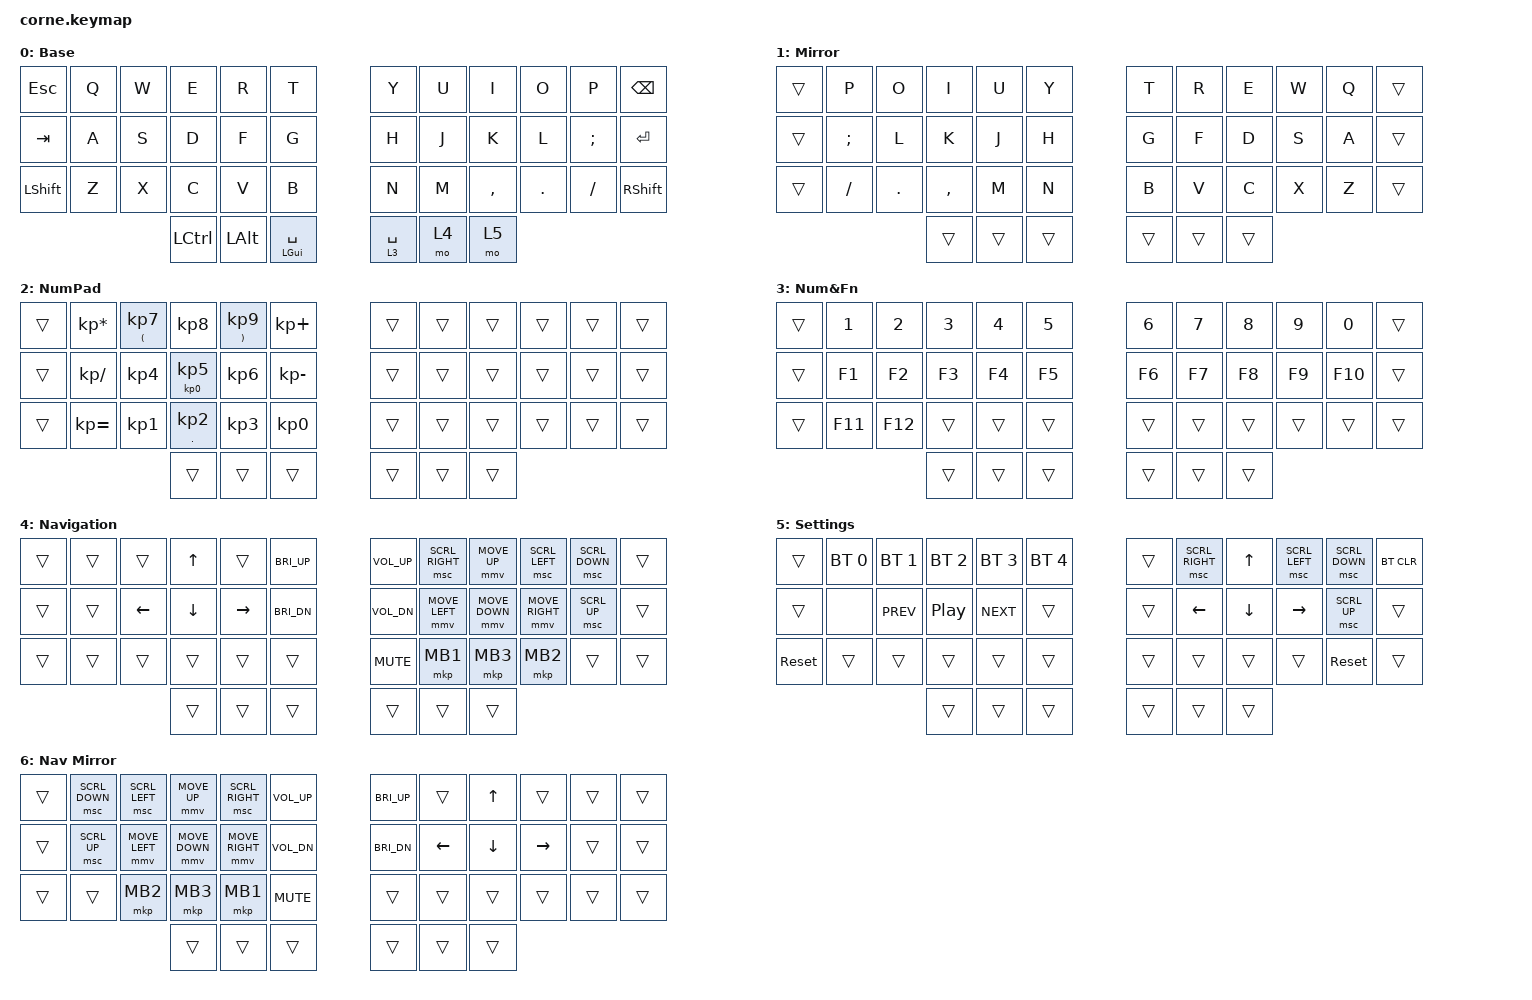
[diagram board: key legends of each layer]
/*
 * Copyright (c) 2020 The ZMK Contributors
 * SPDX-License-Identifier: MIT
 *
 * Corne 6 — key positions (used by the combos below):
 *
 *      Left half:                    Right half:
 *      0   1   2   3   4   5         6   7   8   9  10  11
 *     12  13  14  15  16  17        18  19  20  21  22  23
 *     24  25  26  27  28  29        30  31  32  33  34  35
 *                 36  37  38        39  40  41
 *
 * Layers: 0 Base · 1 NumPad · 2 Num&Fn · 3 Navigation · 4 Settings · 5 Mirror
 *
 * Mouse emulation reference:
 *   https://v0-3-branch.zmk.dev/docs/keymaps/behaviors/mouse-emulation
 */
/* ============================================================
 *  USER CONFIG  (tunable constants)
 * ------------------------------------------------------------
 *  The ZMK_POINTING_* values must be defined BEFORE pointing.h
 *  is included, which is why this block sits above the includes.
 * ============================================================
 */
// Pointing Settings

#define ZMK_POINTING_DEFAULT_MOVE_VAL   975   // pointer speed (ZMK default 600)

// #define ZMK_POINTING_DEFAULT_SCRL_VAL 200 //make scroll speed faster
// Combo Terms

#define COMBO_TERM        25   // max ms between the keys of a combo
#define COMBO_IDLE       200   // ms of idle required before a combo can fire

// Caps Combo Terms

#define SHIFT_HOLD_TERM  240   // ms the caps combo must be held to become caps-lock

// Various Include

#include <dt-bindings/zmk/modifiers.h>
#include <behaviors.dtsi>
#include <dt-bindings/zmk/bt.h>
#include <dt-bindings/zmk/keys.h>
#include <dt-bindings/zmk/pointing.h>
#include "zmk-helpers/helper.h"          // ZMK_TAP_DANCE, ZMK_MOD_MORPH; MUST come last, after behaviors.dtsi

/* ============================================================
 *  CAPS COMBOS
 * ------------------------------------------------------------
 *  The shift keys are plain shifts. Caps lives in two combos
 *  (TAB + LSHIFT, ENTER + RSHIFT):
 *    tap   -> caps-word
 *    hold  -> caps-lock (while held past SHIFT_HOLD_TERM)
 * ============================================================
 */

/ {
    behaviors {
        n_shift_ht: new_shift_hold_tap {
            compatible = "zmk,behavior-hold-tap";
            #binding-cells = <2>;   // ZMK requires 2 for every hold-tap
            flavor = "tap-preferred";
            tapping-term-ms = <SHIFT_HOLD_TERM>;
            bindings = <&kp>, <&caps_word_p>;
        };
    };

    macros {
        /* caps_word with an ignored parameter, so it fits a 2-cell hold-tap. */

        caps_word_p: caps_word_p {
            compatible = "zmk,behavior-macro-one-param";
            #binding-cells = <1>;
            wait-ms = <0>;
            tap-ms = <0>;
            bindings = <&caps_word>;
        };
    };
};

/* ============================================================
 *  POINTER TUNING  (overrides ZMK's mouse move / scroll nodes)
 * ------------------------------------------------------------
 *  acceleration-exponent: 0 = constant speed, 1 = linear ramp,
 *  2 = quadratic ramp.
 * ============================================================
 */

&mmv {
    acceleration-exponent = <1>;    // ZMK default 1
    time-to-max-speed-ms = <350>;   // ZMK default 300
    delay-ms = <0>;
};

&msc {
    acceleration-exponent = <1>;    // ZMK default 0; scroll feels odd with curves
    time-to-max-speed-ms = <175>;   // ZMK default 300
    delay-ms = <0>;
};

/* ============================================================
 *  MAIN NODE  (behaviors, combos, keymap)
 * ============================================================
 */

/ {
    /* -------------------------------------------------------- */
    /*  BEHAVIORS                                               */
    /* -------------------------------------------------------- */

    behaviors {
        /* Thumb key: hold = first parameter, tap = second.
         * Used as hold LGUI / tap SPACE. The short term makes
         * the hold kick in almost immediately.
         */

        cmd_space: cmd_space {
            compatible = "zmk,behavior-hold-tap";
            #binding-cells = <2>;
            flavor = "hold-preferred";
            tapping-term-ms = <60>;
            bindings = <&kp>, <&kp>;
        };

        /* Numpad keys: tap = digit, hold = bracket or period. */

        mt_numpad: mt_numpad {
            compatible = "zmk,behavior-hold-tap";
            #binding-cells = <2>;
            flavor = "tap-preferred";
            quick-tap-ms = <165>;
            tapping-term-ms = <200>;
            bindings = <&kp>, <&kp>;
        };
    };

    /* -------------------------------------------------------- */
    /*  COMBOS                                                  */
    /*  Key names in the comments are the Base-layer keys at    */
    /*  those positions. Combos with no timeout-ms use ZMK's     */
    /*  default (50 ms) and have no idle requirement.            */
    /* -------------------------------------------------------- */

    combos {
        compatible = "zmk,combos";

        /* --- Top row: adjacent pairs give the shifted number-row symbols,
         *     left to right: ! @ # $ % ^ & * ( ) -                        ---
         */

        combo_exclamation {
            bindings = <&kp EXCLAMATION>;
            key-positions = <1 13>;
            timeout-ms = <COMBO_TERM>;
            require-prior-idle-ms = <COMBO_IDLE>;
            layers = <0>;
        };

        combo_at {
            bindings = <&kp AT>;
            key-positions = <2 14>;
            timeout-ms = <COMBO_TERM>;
            require-prior-idle-ms = <COMBO_IDLE>;
            layers = <0>;
        };

        combo_hash {
            bindings = <&kp HASH>;
            key-positions = <3 15>;
            timeout-ms = <COMBO_TERM>;
            require-prior-idle-ms = <COMBO_IDLE>;
            layers = <0>;
        };

        combo_dollar {
            bindings = <&kp DOLLAR>;
            key-positions = <16 4>;
            timeout-ms = <COMBO_TERM>;
            require-prior-idle-ms = <COMBO_IDLE>;
            layers = <0>;
        };

        combo_percent {
            bindings = <&kp PERCENT>;
            key-positions = <17 5>;
            timeout-ms = <COMBO_TERM>;
            require-prior-idle-ms = <COMBO_IDLE>;
            layers = <0>;
        };

        combo_caret {
            bindings = <&kp CARET>;
            key-positions = <6 18>;
            timeout-ms = <COMBO_TERM>;
            require-prior-idle-ms = <COMBO_IDLE>;
            layers = <0>;
        };

        combo_ampersand {
            bindings = <&kp AMPERSAND>;
            key-positions = <7 19>;
            timeout-ms = <COMBO_TERM>;
            require-prior-idle-ms = <COMBO_IDLE>;
            layers = <0>;
        };

        combo_asterisk {
            bindings = <&kp ASTERISK>;
            key-positions = <20 8>;
            timeout-ms = <COMBO_TERM>;
            require-prior-idle-ms = <COMBO_IDLE>;
            layers = <0>;
        };

        combo_parentheses-left {
            bindings = <&kp LEFT_PARENTHESIS>;
            key-positions = <19 20>;
            timeout-ms = <COMBO_TERM>;
            require-prior-idle-ms = <COMBO_IDLE>;
            layers = <0>;
        };

        combo_parentheses-right {
            bindings = <&kp RIGHT_PARENTHESIS>;
            key-positions = <20 21>;
            timeout-ms = <COMBO_TERM>;
            require-prior-idle-ms = <COMBO_IDLE>;
            layers = <0>;
        };

        combo_minus {
            bindings = <&kp MINUS>;
            key-positions = <10 22>;
            timeout-ms = <COMBO_TERM>;
            require-prior-idle-ms = <COMBO_IDLE>;
            layers = <0>;
        };

        /* --- Brackets / backslash --- */

        combo_backslash {
            bindings = <&kp BACKSLASH>;
            key-positions = <23 11>;        // ENTER + BSPC
            layers = <3>;                   // Num&Fn layer only
        };

        combo_brackets-right {
            bindings = <&kp RIGHT_BRACKET>;
            key-positions = <33 32>;
            layers = <0>;
        };

        combo_brackets-left {
            bindings = <&kp LEFT_BRACKET>;
            key-positions = <31 32>;
            layers = <0>;
        };

        /* --- Quotes / grave / equals --- */

        combo_tilde {
            bindings = <&kp GRAVE>;
            key-positions = <12 0>;         // ESC + TAB  (` and, with Shift, ~)
            layers = <0>;
        };

        combo_quotes {
            bindings = <&kp SQT>;
            key-positions = <23 22>;        // ENTER + ;
            layers = <0>;                   // Base layer only
        };

        combo_plus_equals {
            bindings = <&kp EQUAL>;
            key-positions = <11 23>;        // BSPC + ENTER  (= and, with Shift, +)
            layers = <0>;                   // Base layer only
        };

        /* --- Caps: tap = caps-word, hold = caps-lock --- */

        combo_caps_left {
            bindings = <&n_shift_ht CAPS 0>;
            key-positions = <12 24>;        // TAB + LSHIFT
            timeout-ms = <COMBO_TERM>;
            layers = <0>;
        };

        combo_caps_right {
            bindings = <&n_shift_ht CAPS 0>;
            key-positions = <23 35>;        // ENTER + RSHIFT
            timeout-ms = <COMBO_TERM>;
            layers = <0>;
        };

        /* --- Utility keys --- */

        combo_globe {
            bindings = <&kp GLOBE>;
            key-positions = <36 28>;        // LCTRL + V
        };

        combo_del {
            bindings = <&kp BACKSPACE>;
            key-positions = <16 17>;         // T + G
        };

        combo_enter {
            bindings = <&kp ENTER>;
            key-positions = <28 29>;        // G + B
        };

        combo_esc {
            bindings = <&kp ESC>;
            key-positions = <18 19>;         // Y + H
        };

        combo_tab {
            bindings = <&kp TAB>;
            key-positions = <30 31>;        // N + H
        };

        /* --- Layer toggles (three keys together) ---
         *  &to switches the layer on and turns every other toggled layer off.
         *  The same combo on the layer itself goes back to Base (0).
         */

        combo_base_on_left {
            bindings = <&to 0>;
            key-positions = <14 15 16>;    // S + D + F
            timeout-ms = <COMBO_TERM>;
            require-prior-idle-ms = <COMBO_IDLE>;
            layers = <2 1 6>;
        };

        combo_base_on_right {
            bindings = <&to 0>;
            key-positions = <19 20 21>;
            timeout-ms = <COMBO_TERM>;
            require-prior-idle-ms = <COMBO_IDLE>;
            layers = <2 1 6>;
        };

        combo_mirror_on_left {
            bindings = <&to 1>;
            key-positions = <2 3 4>;       // W + E + R
            timeout-ms = <COMBO_TERM>;
            require-prior-idle-ms = <COMBO_IDLE>;
            layers = <0 2>;
        };

        combo_mirror_on_right {
            bindings = <&to 1>;
            key-positions = <7 8 9>;
            timeout-ms = <COMBO_TERM>;
            require-prior-idle-ms = <COMBO_IDLE>;
            layers = <0 2>;
        };

        combo_numpad_on_left {
            bindings = <&to 2>;
            key-positions = <26 27 28>;
            timeout-ms = <COMBO_TERM>;
            require-prior-idle-ms = <COMBO_IDLE>;
            layers = <0 1>;
        };

        combo_numpad_on_right {
            bindings = <&to 2>;
            key-positions = <32 33 31>;
            timeout-ms = <COMBO_TERM>;
            require-prior-idle-ms = <COMBO_IDLE>;
            layers = <0 1>;
        };

        combo_nav2_on_left {
            bindings = <&to 6>;
            key-positions = <13 17>;       // A + G
            timeout-ms = <COMBO_TERM>;
            require-prior-idle-ms = <COMBO_IDLE>;
            layers = <0 1 2>;
        };

        combo_nav2_on_right {
            bindings = <&to 6>;
            key-positions = <18 22>;       // H + ;
            timeout-ms = <COMBO_TERM>;
            require-prior-idle-ms = <COMBO_IDLE>;
            layers = <0 1 2>;
        };
    };

    /* -------------------------------------------------------- */
    /*  KEYMAP                                                  */
    /*  Each layer is laid out as the physical board: three     */
    /*  rows of 6 + 6 keys, then the 3 + 3 thumb keys.          */
    /* -------------------------------------------------------- */

    keymap {
        compatible = "zmk,keymap";

        /* --- Layer 0: Base (QWERTY) --- */

        base_layer {
            display-name = "Base";
            bindings = <
&kp ESC    &kp Q  &kp W  &kp E      &kp R     &kp T                    &kp Y        &kp U  &kp I      &kp O    &kp P     &kp BSPC
&kp TAB    &kp A  &kp S  &kp D      &kp F     &kp G                    &kp H        &kp J  &kp K      &kp L    &kp SEMI  &kp ENTER
&kp LSHFT  &kp Z  &kp X  &kp C      &kp V     &kp B                    &kp N        &kp M  &kp COMMA  &kp DOT  &kp FSLH  &kp RSHFT
                         &kp LCTRL  &kp LALT  &cmd_space LGUI SPACE    &lt 3 SPACE  &mo 4  &mo 5
            >;
        };

        /* --- Layer 1: Mirror (toggle with W + E + R) ---
         * Full mirrored layout for one-handed typing: each half
         * types the other half's letters.
         */

        mirror_layer {
            display-name = "Mirror";
            bindings = <
&trans  &kp P     &kp O    &kp I      &kp U   &kp Y     &kp T   &kp R   &kp E   &kp W  &kp Q  &trans
&trans  &kp SEMI  &kp L    &kp K      &kp J   &kp H     &kp G   &kp F   &kp D   &kp S  &kp A  &trans
&trans  &kp FSLH  &kp DOT  &kp COMMA  &kp M   &kp N     &kp B   &kp V   &kp C   &kp X  &kp Z  &trans
                           &trans     &trans  &trans    &trans  &trans  &trans
            >;
        };

        /* --- Layer 2: NumPad (toggle with S + D + F) ---
         * Hold 8 = (   hold 9 = )   hold 5 = .
         */

        numpad_layer {
            display-name = "NumPad";
            bindings = <
&trans  &kp KP_MULTIPLY  &mt_numpad LEFT_PARENTHESIS KP_N7  &kp KP_N8               &mt_numpad RPAR KP_N9  &kp KP_PLUS        &trans  &trans  &trans  &trans  &trans  &trans
&trans  &kp KP_DIVIDE    &kp KP_N4                          &mt_numpad KP_N0 KP_N5  &kp KP_N6              &kp KP_SUBTRACT    &trans  &trans  &trans  &trans  &trans  &trans
&trans  &kp KP_EQUAL     &kp KP_N1                          &mt_numpad DOT KP_N2    &kp KP_N3              &kp KP_NUMBER_0    &trans  &trans  &trans  &trans  &trans  &trans
                                                            &trans                  &trans                 &trans             &trans  &trans  &trans
            >;
        };

        /* --- Layer 3: Numbers & function keys ---
         * Hold the first right thumb key (tapping it types SPACE).
         */

        num_fn_layer {
            display-name = "Num&Fn";
            bindings = <
&trans  &kp N1   &kp N2   &kp N3  &kp N4  &kp N5    &kp N6  &kp N7  &kp N8  &kp N9  &kp N0   &trans
&trans  &kp F1   &kp F2   &kp F3  &kp F4  &kp F5    &kp F6  &kp F7  &kp F8  &kp F9  &kp F10  &trans
&trans  &kp F11  &kp F12  &trans  &trans  &trans    &trans  &trans  &trans  &trans  &trans   &trans
                          &trans  &trans  &trans    &trans  &trans  &trans
            >;
        };

        /* --- Layer 4: Navigation, media and mouse ---
         * Hold the second right thumb key.
         * Left:  arrows on E/S/D/F, brightness on T/G.
         * Right: volume and mute on Y/H/N, mouse move on I/J/K/L with
         *        scroll around it, mouse buttons on the bottom row.
         */

        nav_layer {
            display-name = "Navigation";
            bindings = <
&trans  &trans  &trans    &kp UP    &trans     &kp C_BRI_UP    &kp C_VOL_UP  &msc SCRL_RIGHT  &mmv MOVE_UP    &msc SCRL_LEFT   &msc SCRL_DOWN  &trans
&trans  &trans  &kp LEFT  &kp DOWN  &kp RIGHT  &kp C_BRI_DN    &kp C_VOL_DN  &mmv MOVE_LEFT   &mmv MOVE_DOWN  &mmv MOVE_RIGHT  &msc SCRL_UP    &trans
&trans  &trans  &trans    &trans    &trans     &trans          &kp C_MUTE    &mkp MB1         &mkp MB3        &mkp MB2         &trans          &trans
                          &trans    &trans     &trans          &trans        &trans           &trans
            >;
        };

        /* --- Layer 5: Settings ---
         * Hold the third right thumb key.
         * Bluetooth profiles and clear, media transport, arrows and
         * scroll, firmware reset on either half's bottom row.
         */

        settings_layer {
            display-name = "Settings";
            bindings = <
&trans      &bt BT_SEL 0  &bt BT_SEL 1  &bt BT_SEL 2  &bt BT_SEL 3  &bt BT_SEL 4    &trans  &msc SCRL_RIGHT  &kp UP    &msc SCRL_LEFT  &msc SCRL_DOWN  &bt BT_CLR
&trans      &none         &kp C_PREV    &kp C_PP      &kp C_NEXT    &trans          &trans  &kp LEFT         &kp DOWN  &kp RIGHT       &msc SCRL_UP    &trans
&sys_reset  &trans        &trans        &trans        &trans        &trans          &trans  &trans           &trans    &trans          &sys_reset      &trans
                                        &trans        &trans        &trans          &trans  &trans           &trans
            >;
        };

        nav_mirror_layer {
            display-name = "Nav Mirror";
            bindings = <
&trans  &msc SCRL_DOWN  &msc SCRL_LEFT  &mmv MOVE_UP    &msc SCRL_RIGHT  &kp C_VOL_UP    &kp C_BRI_UP  &trans    &kp UP    &trans     &trans  &trans
&trans  &msc SCRL_UP    &mmv MOVE_LEFT  &mmv MOVE_DOWN  &mmv MOVE_RIGHT  &kp C_VOL_DN    &kp C_BRI_DN  &kp LEFT  &kp DOWN  &kp RIGHT  &trans  &trans
&trans  &trans          &mkp MB2        &mkp MB3        &mkp MB1         &kp C_MUTE      &trans        &trans    &trans    &trans     &trans  &trans
                                        &trans          &trans           &trans          &trans        &trans    &trans
            >;
        };
    };
};
